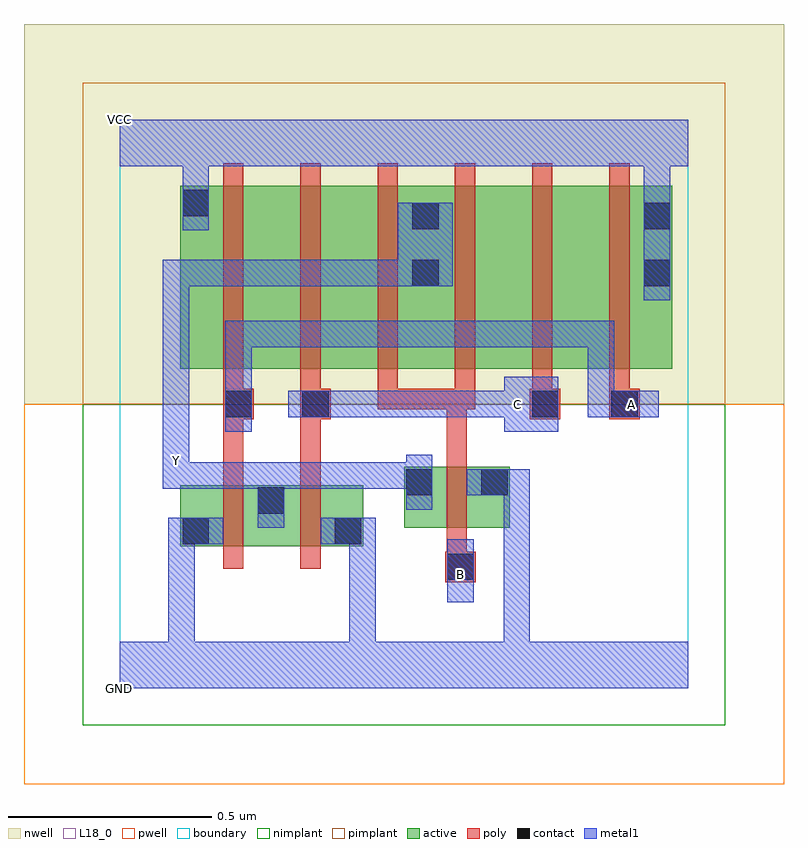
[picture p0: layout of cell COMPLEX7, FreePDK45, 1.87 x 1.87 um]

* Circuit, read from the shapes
.subckt COMPLEX7 A B C GND VCC Y
M1 Y A GND VSUBS nfet w=0.15u l=0.05u
M2 GND C Y VSUBS nfet w=0.15u l=0.05u
M3 GND B Y VSUBS nfet w=0.15u l=0.05u
M4 n1 A VCC n2 pfet w=0.45u l=0.05u
M5 n3 C n1 n2 pfet w=0.45u l=0.05u
M6 Y B n3 n2 pfet w=0.45u l=0.05u
M7 n4 B Y n2 pfet w=0.45u l=0.05u
M8 n5 C n4 n2 pfet w=0.45u l=0.05u
M9 VCC A n5 n2 pfet w=0.45u l=0.05u
.ends

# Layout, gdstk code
import gdstk
lib = gdstk.Library(unit=1e-6, precision=1e-09)
def R(c, l, rs):  # rectangles x0, y0, x1, y1
    for r in rs: c.add(gdstk.rectangle(r[:2], r[2:], *l))
def A(c, l, x, y, w, h, nx, ny, dx, dy):  # array of equal rectangles
    R(c, l, [(x+i*dx, y+j*dy, x+i*dx+w, y+j*dy+h) for i in range(nx) for j in range(ny)])
active = (1, 0)
pwell = (2, 0)
nwell = (3, 0)
nimplant = (4, 0)
pimplant = (5, 0)
poly = (9, 0)
contact = (10, 0)
metal1 = (11, 0)
L18_0 = (18, 0)
boundary = (235, 0)

complex7 = lib.new_cell('COMPLEX7')
R(complex7, active, [(0.15,0.35,0.225,0.5), (0.15,0.35,0.41,0.5), (0.335,0.35,0.41,0.5), (0.335,0.35,0.6,0.5), (0.525,0.35,0.6,0.5), (0.7,0.395,0.775,0.545), (0.7,0.395,0.96,0.545), (0.885,0.395,0.96,0.545), (0.15,0.787,0.375,1.237), (0.15,0.787,0.225,1.232), (0.375,0.787,0.565,1.237), (0.565,0.787,0.79,1.237), (0.715,0.787,0.945,1.237), (0.715,0.787,0.79,1.2), (0.945,0.787,1.135,1.237), (1.135,0.787,1.36,1.237), (1.285,0.787,1.36,1.237)])
R(complex7, pwell, [(-0.235,-0.235,1.635,0.7)])
R(complex7, nwell, [(-0.235,0.7,1.635,1.635)])
R(complex7, nimplant, [(-0.09,-0.09,1.49,0.7)])
R(complex7, pimplant, [(-0.09,0.7,1.49,1.49)])
A(complex7, poly, 0.255, 0.687, 0.05, 0.095, 6, 1, 0.19, 0)
A(complex7, poly, 0.255, 0.732, 0.05, 0.56, 6, 1, 0.19, 0)
R(complex7, poly, [(0.802,0.262,0.877,0.337), (0.805,0.287,0.855,0.39), (0.255,0.295,0.305,0.555), (0.445,0.295,0.495,0.555), (0.805,0.34,0.855,0.6), (0.255,0.505,0.305,0.712), (0.445,0.505,0.495,0.712), (0.805,0.55,0.855,0.737), (0.255,0.662,0.33,0.737), (0.445,0.662,0.52,0.737), (1.01,0.662,1.085,0.737), (1.205,0.662,1.28,0.737), (0.635,0.687,0.685,0.737), (0.635,0.687,0.855,0.737), (0.805,0.687,0.855,0.737), (0.805,0.687,0.855,0.737), (0.805,0.687,0.875,0.737)])
R(complex7, contact, [(0.807,0.267,0.872,0.332), (0.155,0.355,0.22,0.42), (0.53,0.355,0.595,0.42), (0.34,0.43,0.405,0.495), (0.705,0.475,0.77,0.54), (0.89,0.475,0.955,0.54), (0.26,0.667,0.325,0.732), (0.45,0.667,0.515,0.732), (1.015,0.667,1.08,0.732), (1.21,0.667,1.275,0.732), (0.72,0.99,0.785,1.055), (1.29,0.99,1.355,1.055), (0.72,1.13,0.785,1.195), (1.29,1.13,1.355,1.195), (0.155,1.162,0.22,1.227)])
R(complex7, metal1, [(0,0,1.4,0.115), (0.12,0.05,0.185,0.115), (0.12,0.05,0.185,0.115), (0.12,0.05,0.185,0.42), (0.565,0.05,0.63,0.115), (0.565,0.05,0.63,0.115), (0.565,0.05,0.63,0.115), (0.565,0.05,0.63,0.115), (0.565,0.05,0.63,0.115), (0.565,0.05,0.63,0.115), (0.565,0.05,0.63,0.42), (0.945,0.05,1.01,0.115), (0.945,0.05,1.01,0.115), (0.945,0.05,1.01,0.115), (0.945,0.05,1.01,0.115), (0.945,0.05,1.01,0.115), (0.945,0.05,1.01,0.115), (0.945,0.05,1.01,0.54), (0.807,0.212,0.872,0.367), (0.12,0.355,0.185,0.42), (0.12,0.355,0.185,0.42), (0.12,0.355,0.185,0.42), (0.12,0.355,0.185,0.42), (0.12,0.355,0.255,0.42), (0.495,0.355,0.63,0.42), (0.34,0.395,0.405,0.557), (0.705,0.44,0.77,0.575), (0.855,0.475,1.01,0.54), (0.107,0.492,0.172,0.557), (0.107,0.492,0.172,0.557), (0.107,0.492,0.172,0.557), (0.107,0.492,0.172,0.557), (0.107,0.492,0.172,0.627), (0.107,0.492,0.405,0.557), (0.34,0.492,0.542,0.557), (0.477,0.492,0.542,0.557), (0.477,0.492,0.542,0.557), (0.477,0.492,0.542,0.557), (0.477,0.492,0.735,0.557), (0.67,0.492,0.735,0.557), (0.67,0.492,0.77,0.557), (0.107,0.562,0.172,0.627), (0.107,0.562,0.172,0.627), (0.107,0.562,0.172,1.055), (0.26,0.632,0.325,0.767), (0.947,0.632,1.08,0.767), (0.415,0.667,0.55,0.732), (0.485,0.667,0.55,0.732), (0.485,0.667,0.55,0.732), (0.485,0.667,0.687,0.732), (0.622,0.667,0.687,0.732), (0.622,0.667,0.687,0.732), (0.622,0.667,0.687,0.732), (0.622,0.667,0.872,0.732), (0.807,0.667,0.872,0.732), (0.807,0.667,1.012,0.732), (0.947,0.667,1.012,0.732), (0.947,0.667,1.012,0.732), (1.152,0.667,1.24,0.732), (1.152,0.667,1.217,0.905), (1.152,0.667,1.217,0.732), (1.175,0.667,1.327,0.732), (0.26,0.702,0.325,0.767), (0.26,0.702,0.325,0.767), (0.26,0.702,0.325,0.905), (0.26,0.84,0.325,0.905), (0.26,0.84,0.55,0.905), (0.485,0.84,0.55,0.905), (0.485,0.84,0.55,0.905), (0.485,0.84,0.55,0.905), (0.485,0.84,0.687,0.905), (0.622,0.84,0.687,0.905), (0.622,0.84,0.687,0.905), (0.622,0.84,0.687,0.905), (0.622,0.84,0.872,0.905), (0.807,0.84,0.872,0.905), (0.807,0.84,0.872,0.905), (0.807,0.84,0.872,0.905), (0.807,0.84,1.102,0.905), (1.037,0.84,1.217,0.905), (1.037,0.84,1.102,0.905), (1.152,0.84,1.217,0.905), (1.29,0.955,1.355,1.23), (0.107,0.99,0.172,1.055), (0.107,0.99,0.172,1.055), (0.107,0.99,0.172,1.055), (0.107,0.99,0.405,1.055), (0.34,0.99,0.405,1.055), (0.34,0.99,0.542,1.055), (0.477,0.99,0.542,1.055), (0.477,0.99,0.542,1.055), (0.477,0.99,0.542,1.055), (0.477,0.99,0.735,1.055), (0.67,0.99,0.735,1.055), (0.67,0.99,0.75,1.055), (0.685,0.99,0.82,1.195), (0.155,1.127,0.22,1.262), (1.29,1.165,1.355,1.35), (0.155,1.197,0.22,1.35), (0,1.285,1.4,1.4)])
A(complex7, L18_0, 0.107, 0.492, 0.065, 0.065, 1, 3, 0, 0.035)
R(complex7, L18_0, [(0,0,1.4,0.115), (0.12,0.05,0.185,0.115), (0.12,0.05,0.185,0.115), (0.12,0.05,0.185,0.42), (0.565,0.05,0.63,0.115), (0.565,0.05,0.63,0.115), (0.565,0.05,0.63,0.115), (0.565,0.05,0.63,0.115), (0.565,0.05,0.63,0.115), (0.565,0.05,0.63,0.115), (0.565,0.05,0.63,0.42), (0.945,0.05,1.01,0.115), (0.945,0.05,1.01,0.115), (0.945,0.05,1.01,0.115), (0.945,0.05,1.01,0.115), (0.945,0.05,1.01,0.115), (0.945,0.05,1.01,0.115), (0.945,0.05,1.01,0.54), (0.807,0.212,0.872,0.367), (0.807,0.247,0.872,0.312), (0.12,0.355,0.185,0.42), (0.12,0.355,0.185,0.42), (0.12,0.355,0.185,0.42), (0.12,0.355,0.185,0.42), (0.12,0.355,0.255,0.42), (0.495,0.355,0.63,0.42), (0.34,0.395,0.405,0.557), (0.705,0.44,0.77,0.575), (0.855,0.475,1.01,0.54), (0.107,0.492,0.172,0.557), (0.107,0.492,0.172,0.557), (0.107,0.492,0.172,0.557), (0.107,0.492,0.172,0.627), (0.107,0.492,0.405,0.557), (0.34,0.492,0.542,0.557), (0.477,0.492,0.542,0.557), (0.477,0.492,0.542,0.557), (0.477,0.492,0.542,0.557), (0.477,0.492,0.735,0.557), (0.67,0.492,0.735,0.557), (0.67,0.492,0.77,0.557), (0.107,0.562,0.172,0.627), (0.107,0.562,0.172,1.055), (0.26,0.632,0.325,0.767), (0.947,0.632,1.08,0.767), (0.415,0.667,0.55,0.732), (0.485,0.667,0.55,0.732), (0.485,0.667,0.55,0.732), (0.485,0.667,0.687,0.732), (0.622,0.667,0.687,0.732), (0.622,0.667,0.687,0.732), (0.622,0.667,0.687,0.732), (0.622,0.667,0.872,0.732), (0.807,0.667,0.872,0.732), (0.807,0.667,1.012,0.732), (0.947,0.667,1.012,0.732), (0.947,0.667,1.012,0.732), (0.947,0.667,1.012,0.732), (1.152,0.667,1.217,0.732), (1.152,0.667,1.217,0.905), (1.152,0.667,1.24,0.732), (1.175,0.667,1.327,0.732), (1.227,0.667,1.292,0.732), (0.26,0.702,0.325,0.767), (0.26,0.702,0.325,0.767), (0.26,0.702,0.325,0.905), (0.26,0.84,0.325,0.905), (0.26,0.84,0.55,0.905), (0.485,0.84,0.55,0.905), (0.485,0.84,0.55,0.905), (0.485,0.84,0.55,0.905), (0.485,0.84,0.687,0.905), (0.622,0.84,0.687,0.905), (0.622,0.84,0.687,0.905), (0.622,0.84,0.687,0.905), (0.622,0.84,0.872,0.905), (0.807,0.84,0.872,0.905), (0.807,0.84,0.872,0.905), (0.807,0.84,0.872,0.905), (0.807,0.84,1.102,0.905), (1.037,0.84,1.102,0.905), (1.037,0.84,1.217,0.905), (1.152,0.84,1.217,0.905), (1.29,0.955,1.355,1.23), (0.107,0.99,0.172,1.055), (0.107,0.99,0.172,1.055), (0.107,0.99,0.172,1.055), (0.107,0.99,0.405,1.055), (0.34,0.99,0.405,1.055), (0.34,0.99,0.542,1.055), (0.477,0.99,0.542,1.055), (0.477,0.99,0.542,1.055), (0.477,0.99,0.542,1.055), (0.477,0.99,0.735,1.055), (0.67,0.99,0.735,1.055), (0.67,0.99,0.75,1.055), (0.685,0.99,0.82,1.195), (0.155,1.127,0.22,1.262), (1.29,1.165,1.355,1.35), (0.155,1.197,0.22,1.35), (0,1.285,1.4,1.4)])
R(complex7, boundary, [(0,0,1.4,1.4)])
complex7.add(gdstk.Label('A', (1.26,0.7), layer=11, texttype=0))
complex7.add(gdstk.Label('B', (0.84,0.28), layer=11, texttype=0))
complex7.add(gdstk.Label('C', (0.98,0.7), layer=11, texttype=0))
complex7.add(gdstk.Label('Y', (0.14,0.56), layer=11, texttype=0))
complex7.add(gdstk.Label('VCC', (0,1.4), layer=11, texttype=0))
complex7.add(gdstk.Label('GND', (0,0), layer=11, texttype=0))

lib.write_gds('COMPLEX7.gds')
